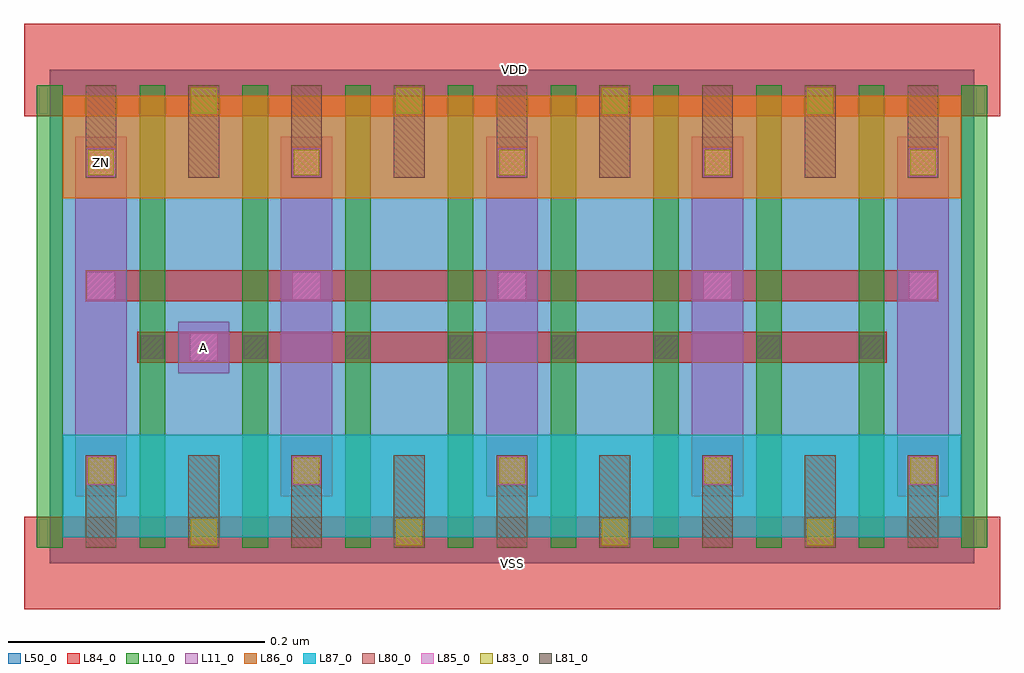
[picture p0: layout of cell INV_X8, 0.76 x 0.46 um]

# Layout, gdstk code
import gdstk
lib = gdstk.Library(unit=1e-6, precision=1e-09)
def R(c, l, rs):  # rectangles x0, y0, x1, y1
    for r in rs: c.add(gdstk.rectangle(r[:2], r[2:], *l))
def A(c, l, x, y, w, h, nx, ny, dx, dy):  # array of equal rectangles
    R(c, l, [(x+i*dx, y+j*dy, x+i*dx+w, y+j*dy+h) for i in range(nx) for j in range(ny)])
L10_0 = (10, 0)
L11_0 = (11, 0)
L50_0 = (50, 0)
L80_0 = (80, 0)
L81_0 = (81, 0)
L83_0 = (83, 0)
L84_0 = (84, 0)
L85_0 = (85, 0)
L86_0 = (86, 0)
L87_0 = (87, 0)

inv_x8 = lib.new_cell('INV_X8')
A(inv_x8, L10_0, -0.01, 0.012, 0.02, 0.36, 5, 1, 0.08, 0)
A(inv_x8, L10_0, 0.39, 0.012, 0.02, 0.36, 5, 1, 0.08, 0)
R(inv_x8, L10_0, [(0.31,0.012,0.33,0.372), (0.39,0.012,0.41,0.372)])
A(inv_x8, L11_0, 0.02, 0.052, 0.04, 0.28, 3, 1, 0.16, 0)
A(inv_x8, L11_0, 0.34, 0.052, 0.04, 0.28, 3, 1, 0.16, 0)
R(inv_x8, L11_0, [(0.1,0.148,0.14,0.188)])
R(inv_x8, L50_0, [(0,0,0.72,0.384)])
A(inv_x8, L80_0, 0.028, 0.012, 0.024, 0.072, 5, 2, 0.08, 0.288)
A(inv_x8, L80_0, 0.348, 0.012, 0.024, 0.072, 5, 2, 0.08, 0.288)
A(inv_x8, L81_0, 0.071, 0.159, 0.018, 0.018, 8, 1, 0.08, 0)
A(inv_x8, L83_0, 0.11, 0.014, 0.02, 0.02, 4, 2, 0.16, 0.336)
A(inv_x8, L83_0, 0.03, 0.062, 0.02, 0.02, 3, 2, 0.16, 0.24)
A(inv_x8, L83_0, 0.35, 0.062, 0.02, 0.02, 3, 2, 0.16, 0.24)
A(inv_x8, L84_0, 0.028, 0.06, 0.024, 0.024, 3, 2, 0.16, 0.24)
A(inv_x8, L84_0, 0.348, 0.06, 0.024, 0.024, 3, 2, 0.16, 0.24)
R(inv_x8, L84_0, [(-0.02,-0.036,0.42,0.036), (0.3,-0.036,0.74,0.036), (0.068,0.156,0.41,0.18), (0.388,0.156,0.652,0.18), (0.028,0.204,0.372,0.228), (0.348,0.204,0.692,0.228), (-0.02,0.348,0.42,0.42), (0.3,0.348,0.74,0.42)])
A(inv_x8, L85_0, 0.029, 0.061, 0.022, 0.022, 3, 2, 0.16, 0.144)
A(inv_x8, L85_0, 0.349, 0.061, 0.022, 0.022, 3, 2, 0.16, 0.144)
A(inv_x8, L85_0, 0.029, 0.301, 0.022, 0.022, 3, 1, 0.16, 0)
A(inv_x8, L85_0, 0.349, 0.301, 0.022, 0.022, 3, 1, 0.16, 0)
R(inv_x8, L85_0, [(0.109,0.157,0.131,0.179)])
R(inv_x8, L86_0, [(0.01,0.284,0.39,0.364), (0.33,0.284,0.71,0.364)])
R(inv_x8, L87_0, [(0.01,0.02,0.39,0.1), (0.33,0.02,0.71,0.1)])
inv_x8.add(gdstk.Label('VSS', (0.36,0), layer=88, texttype=0))
inv_x8.add(gdstk.Label('VDD', (0.362,0.384), layer=88, texttype=0))
inv_x8.add(gdstk.Label('A', (0.12,0.168), layer=31, texttype=0))
inv_x8.add(gdstk.Label('ZN', (0.04,0.312), layer=31, texttype=0))

lib.write_gds('INV_X8.gds')
